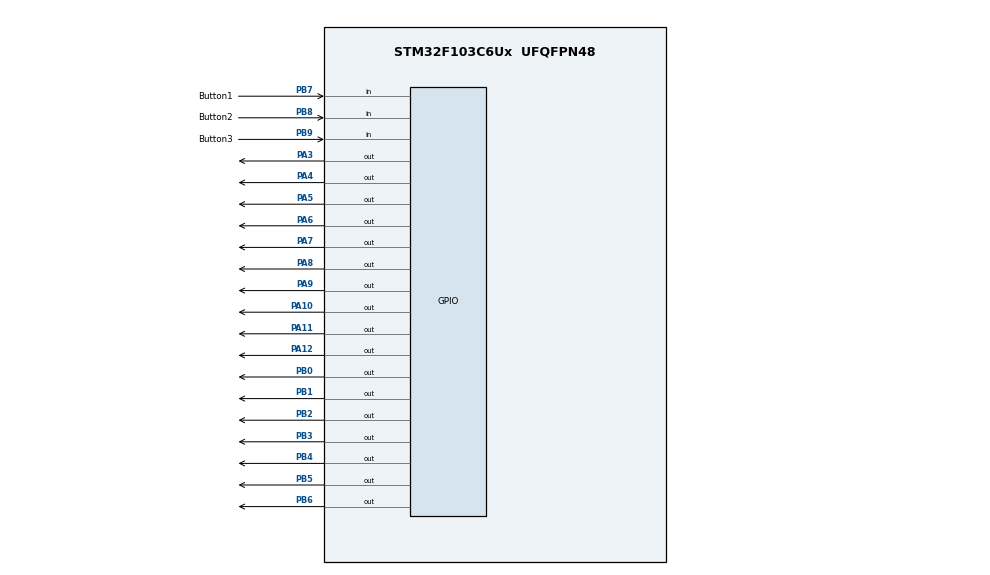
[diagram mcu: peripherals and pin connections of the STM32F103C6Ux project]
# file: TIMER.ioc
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Mcu.Family=STM32F1
Mcu.Name=STM32F103C6Ux
Mcu.Package=UFQFPN48
NVIC.PriorityGroup=NVIC_PRIORITYGROUP_4
NVIC.TIM2_IRQn=true\:0\:0\:false\:false\:true\:true\:true
PA10.Signal=GPIO_Output
PA11.Signal=GPIO_Output
PA12.Signal=GPIO_Output
PA13.Mode=Serial_Wire
PA13.Signal=SYS_JTMS-SWDIO
PA14.Mode=Serial_Wire
PA14.Signal=SYS_JTCK-SWCLK
PA3.PinState=GPIO_PIN_SET
PA3.Signal=GPIO_Output
PA4.PinState=GPIO_PIN_SET
PA4.Signal=GPIO_Output
PA5.PinState=GPIO_PIN_SET
PA5.Signal=GPIO_Output
PA6.Signal=GPIO_Output
PA7.Signal=GPIO_Output
PA8.Signal=GPIO_Output
PA9.Signal=GPIO_Output
PB0.Signal=GPIO_Output
PB1.Signal=GPIO_Output
PB2.Signal=GPIO_Output
PB3.Signal=GPIO_Output
PB4.Signal=GPIO_Output
PB5.Signal=GPIO_Output
PB6.Signal=GPIO_Output
PB7.GPIO_Label=Button1
PB7.GPIO_PuPd=GPIO_PULLUP
PB7.Signal=GPIO_Input
PB8.GPIO_Label=Button2
PB8.GPIO_PuPd=GPIO_PULLUP
PB8.Signal=GPIO_Input
PB9.GPIO_Label=Button3
PB9.GPIO_PuPd=GPIO_PULLUP
PB9.Signal=GPIO_Input
ProjectManager.HeapSize=0x200
ProjectManager.StackSize=0x400
ProjectManager.TargetToolchain=STM32CubeIDE
RCC.APB1Freq_Value=8000000
RCC.APB2Freq_Value=8000000
TIM2.Period=9
TIM2.Prescaler=7999
VP_TIM2_VS_ClockSourceINT.Mode=Internal
board=custom

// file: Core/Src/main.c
/* USER CODE BEGIN Header */
/**
  ******************************************************************************
  * @file           : main.c
  * @brief          : Main program body
  ******************************************************************************
  * @attention
  *
  * <h2><center>&copy; Copyright (c) 2022 STMicroelectronics.
  * All rights reserved.</center></h2>
  *
  * This software component is licensed by ST under BSD 3-Clause license,
  * the "License"; You may not use this file except in compliance with the
  * License. You may obtain a copy of the License at:
  *                        opensource.org/licenses/BSD-3-Clause
  *
  ******************************************************************************
  */
/* USER CODE END Header */
#include "main.h"

/* USER CODE BEGIN Includes */
#include "scheduler.h"
/* USER CODE END Includes */

TIM_HandleTypeDef htim2;

void SystemClock_Config(void);
static void MX_GPIO_Init(void);
static void MX_TIM2_Init(void);

/* USER CODE BEGIN 0 */
void ledred(){
	HAL_GPIO_TogglePin(GPIOA, GPIO_PIN_9);
}
void ledgreen(){
	HAL_GPIO_TogglePin(GPIOA, GPIO_PIN_8);
}
void ledblue(){
	HAL_GPIO_TogglePin(GPIOA, GPIO_PIN_7);
}
void ledpurple(){
	HAL_GPIO_TogglePin(GPIOA, GPIO_PIN_6);
}
void ledyellow(){
	HAL_GPIO_TogglePin(GPIOA, GPIO_PIN_5);
}

/* USER CODE END 0 */

int main(void)
{

  /* MCU Configuration--------------------------------------------------------*/

  /* Reset of all peripherals, Initializes the Flash interface and the Systick. */
  HAL_Init();

  /* Configure the system clock */
  SystemClock_Config();

  /* Initialize all configured peripherals */
  MX_GPIO_Init();
  MX_TIM2_Init();
  /* USER CODE BEGIN 2 */
  HAL_TIM_Base_Start_IT(&htim2);
  /* USER CODE END 2 */

  /* Infinite loop */
  /* USER CODE BEGIN WHILE */

  SCH_Add_Task(ledyellow, 10, 50,0);
  SCH_Add_Task(ledpurple, 10,100,0);
  SCH_Add_Task(ledblue, 10,150,0);
  SCH_Add_Task(ledgreen, 10,200,0);
  SCH_Add_Task(ledred, 10,250,0);
  while (1)
  {
	  SCH_Dispatch_Tasks();
    /* USER CODE END WHILE */

  }
}

void SystemClock_Config(void)
{
  RCC_OscInitTypeDef RCC_OscInitStruct = {0};
  RCC_ClkInitTypeDef RCC_ClkInitStruct = {0};

  /** Initializes the RCC Oscillators according to the specified parameters
  * in the RCC_OscInitTypeDef structure.
  */
  RCC_OscInitStruct.OscillatorType = RCC_OSCILLATORTYPE_HSI;
  RCC_OscInitStruct.HSIState = RCC_HSI_ON;
  RCC_OscInitStruct.HSICalibrationValue = RCC_HSICALIBRATION_DEFAULT;
  RCC_OscInitStruct.PLL.PLLState = RCC_PLL_NONE;
  if (HAL_RCC_OscConfig(&RCC_OscInitStruct) != HAL_OK)
  {
    Error_Handler();
  }
  /** Initializes the CPU, AHB and APB buses clocks
  */
  RCC_ClkInitStruct.ClockType = RCC_CLOCKTYPE_HCLK|RCC_CLOCKTYPE_SYSCLK
                              |RCC_CLOCKTYPE_PCLK1|RCC_CLOCKTYPE_PCLK2;
  RCC_ClkInitStruct.SYSCLKSource = RCC_SYSCLKSOURCE_HSI;
  RCC_ClkInitStruct.AHBCLKDivider = RCC_SYSCLK_DIV1;
  RCC_ClkInitStruct.APB1CLKDivider = RCC_HCLK_DIV1;
  RCC_ClkInitStruct.APB2CLKDivider = RCC_HCLK_DIV1;

  if (HAL_RCC_ClockConfig(&RCC_ClkInitStruct, FLASH_LATENCY_0) != HAL_OK)
  {
    Error_Handler();
  }
}

static void MX_TIM2_Init(void)
{

  TIM_ClockConfigTypeDef sClockSourceConfig = {0};
  TIM_MasterConfigTypeDef sMasterConfig = {0};

  htim2.Instance = TIM2;
  htim2.Init.Prescaler = 7999;
  htim2.Init.CounterMode = TIM_COUNTERMODE_UP;
  htim2.Init.Period = 9;
  htim2.Init.ClockDivision = TIM_CLOCKDIVISION_DIV1;
  htim2.Init.AutoReloadPreload = TIM_AUTORELOAD_PRELOAD_DISABLE;
  if (HAL_TIM_Base_Init(&htim2) != HAL_OK)
  {
    Error_Handler();
  }
  sClockSourceConfig.ClockSource = TIM_CLOCKSOURCE_INTERNAL;
  if (HAL_TIM_ConfigClockSource(&htim2, &sClockSourceConfig) != HAL_OK)
  {
    Error_Handler();
  }
  sMasterConfig.MasterOutputTrigger = TIM_TRGO_RESET;
  sMasterConfig.MasterSlaveMode = TIM_MASTERSLAVEMODE_DISABLE;
  if (HAL_TIMEx_MasterConfigSynchronization(&htim2, &sMasterConfig) != HAL_OK)
  {
    Error_Handler();
  }

}

static void MX_GPIO_Init(void)
{
  GPIO_InitTypeDef GPIO_InitStruct = {0};

  /* GPIO Ports Clock Enable */
  __HAL_RCC_GPIOA_CLK_ENABLE();
  __HAL_RCC_GPIOB_CLK_ENABLE();

  /*Configure GPIO pin Output Level */
  HAL_GPIO_WritePin(GPIOA, GPIO_PIN_3|GPIO_PIN_4|GPIO_PIN_5, GPIO_PIN_SET);

  /*Configure GPIO pin Output Level */
  HAL_GPIO_WritePin(GPIOA, GPIO_PIN_6|GPIO_PIN_7|GPIO_PIN_8|GPIO_PIN_9
                          |GPIO_PIN_10|GPIO_PIN_11|GPIO_PIN_12, GPIO_PIN_RESET);

  /*Configure GPIO pin Output Level */
  HAL_GPIO_WritePin(GPIOB, GPIO_PIN_0|GPIO_PIN_1|GPIO_PIN_2|GPIO_PIN_3
                          |GPIO_PIN_4|GPIO_PIN_5|GPIO_PIN_6, GPIO_PIN_RESET);

  /*Configure GPIO pins : PA3 PA4 PA5 PA6
                           PA7 PA8 PA9 PA10
                           PA11 PA12 */
  GPIO_InitStruct.Pin = GPIO_PIN_3|GPIO_PIN_4|GPIO_PIN_5|GPIO_PIN_6
                          |GPIO_PIN_7|GPIO_PIN_8|GPIO_PIN_9|GPIO_PIN_10
                          |GPIO_PIN_11|GPIO_PIN_12;
  GPIO_InitStruct.Mode = GPIO_MODE_OUTPUT_PP;
  GPIO_InitStruct.Pull = GPIO_NOPULL;
  GPIO_InitStruct.Speed = GPIO_SPEED_FREQ_LOW;
  HAL_GPIO_Init(GPIOA, &GPIO_InitStruct);

  /*Configure GPIO pins : PB0 PB1 PB2 PB3
                           PB4 PB5 PB6 */
  GPIO_InitStruct.Pin = GPIO_PIN_0|GPIO_PIN_1|GPIO_PIN_2|GPIO_PIN_3
                          |GPIO_PIN_4|GPIO_PIN_5|GPIO_PIN_6;
  GPIO_InitStruct.Mode = GPIO_MODE_OUTPUT_PP;
  GPIO_InitStruct.Pull = GPIO_NOPULL;
  GPIO_InitStruct.Speed = GPIO_SPEED_FREQ_LOW;
  HAL_GPIO_Init(GPIOB, &GPIO_InitStruct);

  /*Configure GPIO pins : Button1_Pin Button2_Pin Button3_Pin */
  GPIO_InitStruct.Pin = Button1_Pin|Button2_Pin|Button3_Pin;
  GPIO_InitStruct.Mode = GPIO_MODE_INPUT;
  GPIO_InitStruct.Pull = GPIO_PULLUP;
  HAL_GPIO_Init(GPIOB, &GPIO_InitStruct);

}

/* USER CODE BEGIN 4 */

void HAL_TIM_PeriodElapsedCallback(TIM_HandleTypeDef *htim){
	SCH_Update();
}
/* USER CODE END 4 */

void Error_Handler(void)
{
  __disable_irq();
  while (1)
  {
  }
}

/************************ (C) COPYRIGHT STMicroelectronics *****END OF FILE****/
